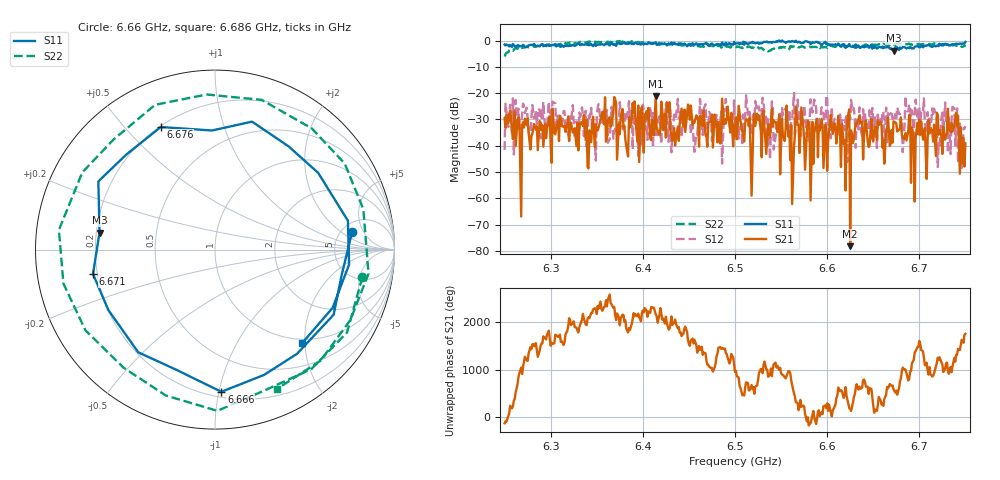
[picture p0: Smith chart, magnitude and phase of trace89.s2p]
# Hz S RI R 50
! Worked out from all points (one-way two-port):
!   401 points, 6.25 GHz to 6.75 GHz, reference 50 ohm
!   highest |S21| = -21.15 dB at 6.414 GHz (marker M1); lowest = -78.2 dB at 6.625 GHz (marker M2)
!   lowest |S11| = -3.7 dB at 6.672 GHz (marker M3), VSWR 4.72, Z = 10.6 + j3.49 ohm
!   |S11| at or under -10 dB: nowhere
!   |S22| runs from -6.0 to -0.1 dB; largest |S21 - S12| = 0.11
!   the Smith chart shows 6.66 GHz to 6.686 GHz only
!   S11 on the Smith chart (normalised r, x): 6.66 GHz: 6.19, +3.06; 6.666 GHz: 0.24, -1.02; 6.671 GHz: 0.18, -0.10; 6.676 GHz: 0.20, +0.63; 6.686 GHz: 0.91, -1.94
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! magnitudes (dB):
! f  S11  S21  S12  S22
! 6.25 GHz  -1.4  -29.5  -41.6  -6.0
! 6.265 GHz  -1.7  -29.1  -25.9  -2.3
! 6.334 GHz  -1.3  -31.1  -25.4  -0.7
! 6.342 GHz  -1.8  -34.1  -29.5  -0.2
! 6.414 GHz  -0.6  -21.1  -30.0  -0.6
! 6.418 GHz  -1.5  -36.0  -28.8  -0.8
! 6.5 GHz  -1.2  -36.1  -35.0  -2.4
! 6.584 GHz  -0.6  -30.9  -27.4  -2.3
! 6.606 GHz  -1.5  -35.5  -34.1  -2.1
! 6.625 GHz  -2.1  -78.2  -30.0  -1.9
! 6.635 GHz  -2.6  -28.6  -25.4  -1.6
! 6.66 GHz  -2.3  -40.7  -27.6  -1.6
! 6.666 GHz  -2.0  -29.2  -27.6  -1.3
! 6.668 GHz  -3.1  -40.1  -29.1  -1.6
! 6.671 GHz  -3.2  -38.9  -30.0  -1.1
! 6.672 GHz  -3.7  -30.7  -30.7  -1.4
! 6.676 GHz  -2.5  -34.6  -25.4  -1.3
! 6.686 GHz  -2.9  -38.0  -26.7  -1.4
! 6.694 GHz  -2.9  -37.4  -36.3  -1.3
! 6.7 GHz  -2.5  -30.1  -25.4  -1.6
! 6.74 GHz  -1.1  -27.4  -33.6  -1.9
! 6.75 GHz  -0.5  -39.1  -32.5  -2.3
